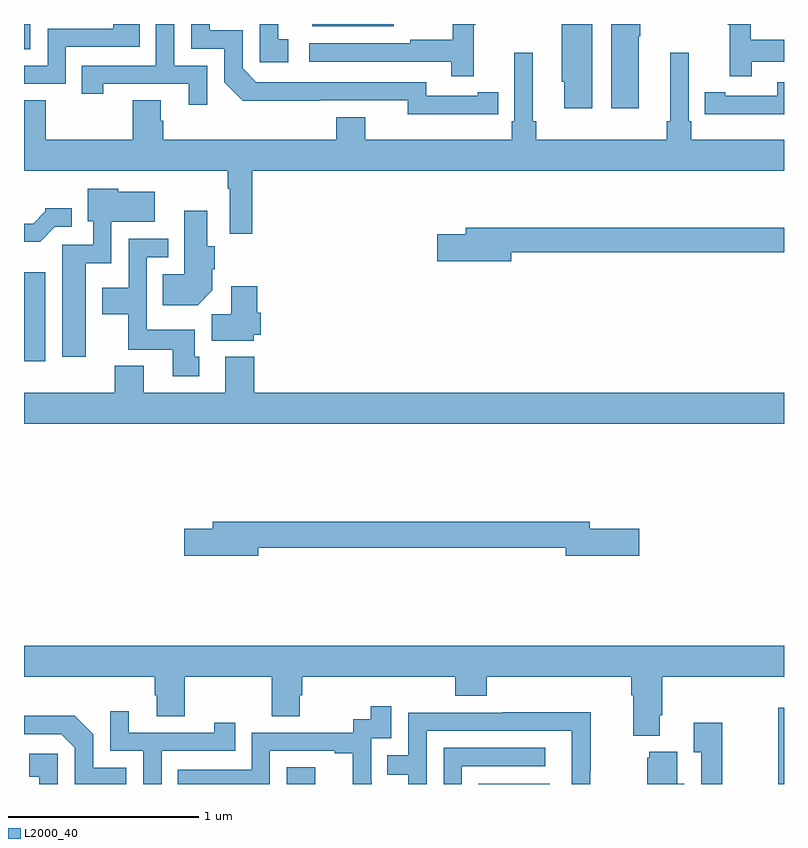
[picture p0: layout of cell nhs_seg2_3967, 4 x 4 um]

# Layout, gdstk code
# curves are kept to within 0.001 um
import gdstk
lib = gdstk.Library(unit=1e-6, precision=1e-09)
def R(c, l, rs):  # rectangles x0, y0, x1, y1
    for r in rs: c.add(gdstk.rectangle(r[:2], r[2:], *l))
def P(c, l, *ps):  # polygons
    for p in ps: c.add(gdstk.Polygon(p, *l))
L2000_40 = (2000, 40)

nhs_seg2_3967 = lib.new_cell('nhs_seg2_3967')
R(nhs_seg2_3967, L2000_40, [(324.384,585.8,324.532,585.889), (325.39,585.8,325.768,585.802), (326.971,585.8,327,586.201), (323,588.024,323.113,588.493), (323,589.668,323.034,589.8), (324.518,589.787,324.946,589.8)])
P(nhs_seg2_3967, L2000_40, [(325.388,589.326),(325.496,589.326),(325.496,589.442),(325.388,589.442),(325.388,589.422),(325.116,589.422),(325.116,589.494),(324.222,589.494),(324.15,589.566),(324.15,589.767),(323.977,589.767),(323.977,589.8),(323.88,589.8),(323.88,589.671),(324.054,589.671),(324.054,589.494),(324.152,589.397),(325.02,589.398),(325.02,589.325)],
  [(326.236,589.735),(326.244,589.735),(326.244,589.8),(326.09,589.8),(326.09,589.356),(326.236,589.356)],
  [(323.964,589.581),(323.79,589.581),(323.79,589.8),(323.694,589.8),(323.694,589.581),(323.305,589.581),(323.305,589.434),(323.416,589.434),(323.416,589.485),(323.867,589.485),(323.867,589.374),(323.964,589.374)],
  [(323.22,589.68),(323.609,589.68),(323.609,589.8),(323.469,589.8),(323.469,589.776),(323.124,589.776),(323.124,589.581),(323,589.581),(323,589.485),(323.22,589.485)],
  [(326.831,589.602),(327,589.602),(327,589.718),(326.824,589.718),(326.824,589.8),(326.703,589.8),(326.703,589.795),(326.714,589.795),(326.714,589.524),(326.831,589.524)],
  [(325.367,589.795),(325.378,589.795),(325.378,589.8),(325.257,589.8),(325.257,589.718),(325.033,589.718),(325.033,589.698),(324.501,589.698),(324.501,589.602),(325.249,589.602),(325.249,589.524),(325.367,589.524)],
  [(325.99,589.8),(325.829,589.8),(325.829,589.497),(325.844,589.497),(325.844,589.356),(325.99,589.356)],
  [(324.391,589.719),(324.338,589.719),(324.338,589.8),(324.24,589.8),(324.24,589.599),(324.391,589.599)],
  [(324.2,589.028),(327,589.028),(327,589.192),(326.513,589.192),(326.513,589.288),(326.499,589.288),(326.499,589.648),(326.402,589.648),(326.402,589.288),(326.383,589.288),(326.383,589.192),(325.697,589.192),(325.697,589.288),(325.678,589.288),(325.678,589.648),(325.581,589.648),(325.581,589.288),(325.568,589.288),(325.568,589.192),(324.796,589.192),(324.796,589.309),(324.644,589.309),(324.644,589.192),(323.732,589.192),(323.732,589.29),(323.719,589.29),(323.719,589.4),(323.572,589.4),(323.572,589.192),(323.115,589.192),(323.115,589.4),(323,589.4),(323,589.028),(324.072,589.028),(324.072,588.932),(324.084,588.932),(324.084,588.696),(324.2,588.696)],
  [(327,589.494),(326.964,589.494),(326.964,589.422),(326.692,589.422),(326.692,589.442),(326.584,589.442),(326.584,589.326),(326.692,589.326),(326.692,589.325),(327,589.325)],
  [(323.326,588.542),(323.46,588.542),(323.46,588.758),(323.689,588.758),(323.689,588.916),(323.496,588.916),(323.496,588.934),(323.336,588.934),(323.336,588.762),(323.364,588.762),(323.364,588.639),(323.201,588.639),(323.201,588.048),(323.326,588.048)],
  [(323.163,588.732),(323.251,588.732),(323.251,588.829),(323.112,588.829),(323.112,588.814),(323.048,588.75),(323,588.75),(323,588.654),(323.085,588.654)],
  [(323.992,588.398),(323.992,588.508),(324.005,588.508),(324.005,588.63),(323.965,588.63),(323.965,588.817),(323.843,588.817),(323.843,588.484),(323.731,588.484),(323.731,588.32),(323.914,588.32)],
  [(325.564,588.598),(327,588.598),(327,588.727),(325.325,588.727),(325.325,588.693),(325.176,588.693),(325.176,588.551),(325.564,588.551)],
  [(323.923,588.048),(323.899,588.048),(323.899,588.19),(323.646,588.19),(323.646,588.573),(323.758,588.573),(323.758,588.669),(323.55,588.669),(323.55,588.412),(323.411,588.412),(323.411,588.272),(323.548,588.272),(323.548,588.086),(323.783,588.086),(323.783,587.946),(323.923,587.946)],
  [(324.21,588.165),(324.245,588.165),(324.245,588.279),(324.227,588.279),(324.227,588.421),(324.092,588.421),(324.092,588.272),(323.987,588.272),(323.987,588.134),(324.21,588.134)],
  [(327,587.86),(324.212,587.86),(324.212,588.049),(324.059,588.049),(324.059,587.86),(323.629,587.86),(323.629,588.001),(323.477,588.001),(323.477,587.86),(323,587.86),(323,587.696),(327,587.696)],
  [(324.232,587.044),(325.85,587.044),(325.85,587.002),(326.239,587.002),(326.239,587.144),(325.978,587.144),(325.978,587.18),(323.993,587.18),(323.993,587.144),(323.844,587.144),(323.844,587.002),(324.232,587.002)],
  [(326.347,586.162),(326.36,586.162),(326.36,586.364),(327,586.364),(327,586.528),(323,586.528),(323,586.364),(323.687,586.364),(323.687,586.266),(323.699,586.266),(323.699,586.156),(323.847,586.156),(323.847,586.364),(324.304,586.364),(324.304,586.156),(324.451,586.156),(324.451,586.266),(324.464,586.266),(324.464,586.364),(325.271,586.364),(325.271,586.265),(325.436,586.265),(325.436,586.364),(326.195,586.364),(326.195,586.268),(326.207,586.268),(326.207,586.055),(326.347,586.055)],
  [(324.294,585.975),(324.635,585.975),(324.635,585.963),(324.731,585.963),(324.731,585.8),(324.83,585.8),(324.83,585.812),(324.828,585.812),(324.828,586.041),(324.933,586.041),(324.933,586.21),(324.825,586.21),(324.825,586.14),(324.732,586.14),(324.732,586.071),(324.198,586.071),(324.198,585.876),(323.809,585.876),(323.809,585.8),(324.294,585.8)],
  [(323.724,585.975),(324.113,585.975),(324.113,586.123),(324.002,586.123),(324.002,586.071),(323.551,586.071),(323.551,586.183),(323.454,586.183),(323.454,585.975),(323.628,585.975),(323.628,585.8),(323.724,585.8)],
  [(325.119,586.08),(325.884,586.08),(325.884,585.8),(325.98,585.8),(325.98,585.871),(325.983,585.871),(325.983,586.178),(325.519,586.178),(325.519,586.176),(325.023,586.176),(325.023,585.951),(324.913,585.951),(324.913,585.85),(325.023,585.85),(325.023,585.8),(325.119,585.8)],
  [(323.538,585.885),(323.364,585.885),(323.364,586.062),(323.266,586.16),(323,586.16),(323,586.062),(323.196,586.062),(323.268,585.99),(323.268,585.8),(323.538,585.8)],
  [(326.674,586.123),(326.525,586.123),(326.525,585.967),(326.565,585.967),(326.565,585.8),(326.674,585.8)],
  [(325.305,585.894),(325.744,585.894),(325.744,585.99),(325.209,585.99),(325.209,585.8),(325.305,585.8)],
  [(326.476,585.802),(326.437,585.802),(326.437,585.97),(326.291,585.97),(326.291,585.939),(326.279,585.939),(326.279,585.8),(326.476,585.8)],
  [(323.178,585.958),(323.028,585.958),(323.028,585.837),(323.081,585.837),(323.081,585.8),(323.178,585.8)])

lib.write_gds('nhs_seg2_3967.gds')
